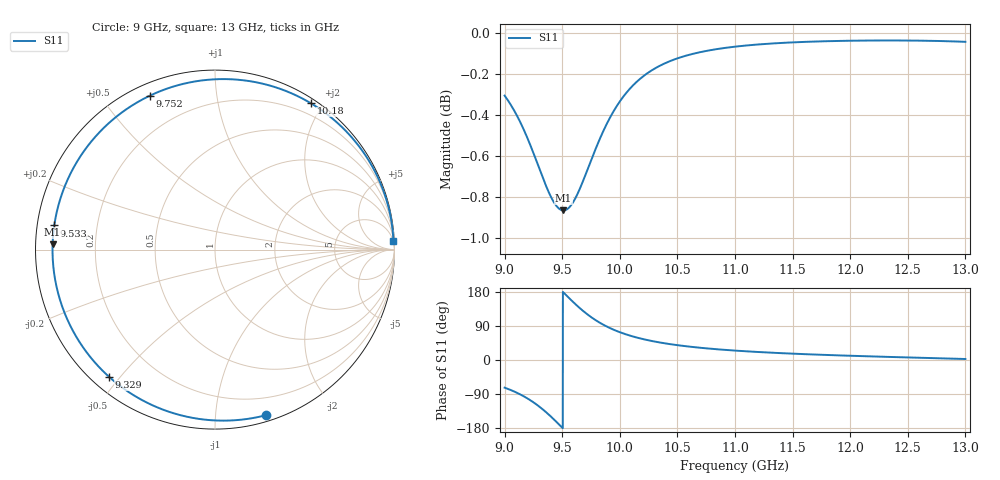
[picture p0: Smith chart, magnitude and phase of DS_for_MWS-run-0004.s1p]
! TOUCHSTONE file generated by CST DESIGN STUDIO
! Date and time: Tue Feb  4 18:46:39 2025
! Project name: C:\Work\MatlabApps\UnitCellOptimizationMatlab\CST\unitcell.cst
! Tree item: Tasks\Sweep1\SPara1\S-Parameters
! Header version: 2024
! Port assignment regex: !\s*Touchstone port\s*([0-9]+)\s*=\s*(CST MWS port|CST DES external port|CST DES block port)\s*(.+)\s* \(\"(.*)\"\)(\s*mode\s*([0-9]+))?.*
! Touchstone port assignment:
! Touchstone port 1 = CST DES external port 1 ("")
# GHz S MA R 50
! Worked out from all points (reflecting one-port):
!   4001 points, 9 GHz to 13 GHz, reference 50 ohm
!   lowest |S11| = -0.9 dB at 9.511 GHz (marker M1), VSWR 20.12, Z = 2.49 + j0.793 ohm
!   phase of S11 starts at -73 deg and turns -284 deg over the sweep
!   S11 on the Smith chart (normalised r, x): 9 GHz: 0.05, -1.35; 9.329 GHz: 0.05, -0.47; 9.533 GHz: 0.05, +0.07; 9.752 GHz: 0.05, +0.66; 10.18 GHz: 0.06, +1.85; 13 GHz: 5, +43
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9  0.9654 -73.0
9.087  0.9569 -83.7
9.19  0.9439 -99.9
9.262  0.933 -114.1
9.329  0.9224 -129.7
9.375  0.9157 -141.8
9.423  0.9099 -155.3
9.462  0.9068 -166.9
9.5  0.9054 -178.5
9.511  0.9053 178.2
9.533  0.9056 171.5
9.586  0.9087 155.6
9.647  0.9155 138.4
9.699  0.923 125.1
9.752  0.9312 113.0
9.803  0.9389 102.6
9.859  0.9467 92.7
10  0.9622 73.4
10.086  0.969 64.5
10.18  0.9747 56.7
10.326  0.9809 47.4
10.5  0.9857 39.1
10.722  0.9895 31.6
11  0.9922 24.8
11.5  0.9946 16.7
12  0.9955 11.2
12.5  0.9956 6.7
13  0.9949 2.6
